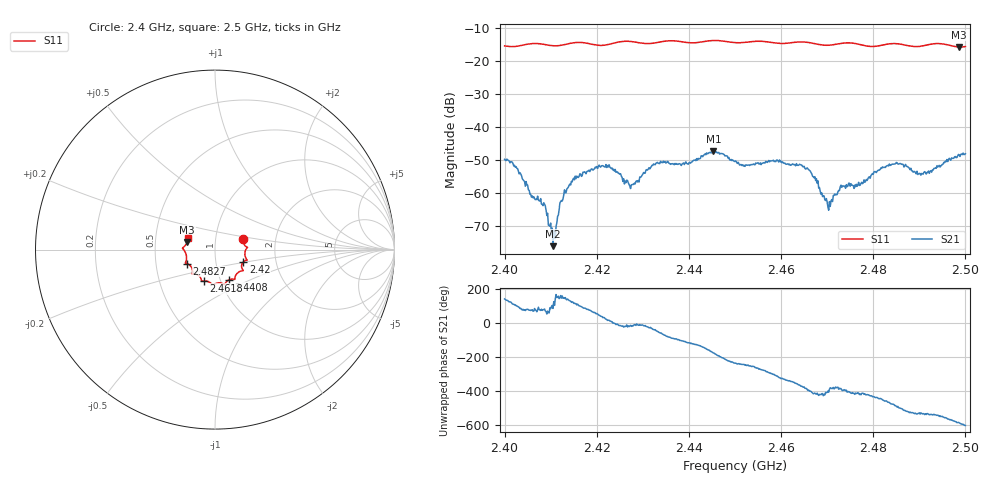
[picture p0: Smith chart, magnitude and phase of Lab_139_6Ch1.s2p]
# Hz S RI R 50
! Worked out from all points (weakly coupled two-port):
!   601 points, 2.4 GHz to 2.5 GHz, reference 50 ohm
!   highest |S21| = -47.24 dB at 2.4453 GHz (marker M1); lowest = -76.0 dB at 2.4105 GHz (marker M2)
!   lowest |S11| = -15.9 dB at 2.4987 GHz (marker M3), VSWR 1.38, Z = 36.5 + j3.22 ohm
!   |S11| at or under -10 dB: start of sweep to end of sweep
!   S12 and S22 are empty: the file has one direction only
!   S11 on the Smith chart (normalised r, x): 2.4 GHz: 1.36, +0.17; 2.42 GHz: 1.36, -0.19; 2.4408 GHz: 1.10, -0.38; 2.4618 GHz: 0.84, -0.30; 2.4827 GHz: 0.72, -0.12; 2.5 GHz: 0.73, +0.09
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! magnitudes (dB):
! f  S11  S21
! 2.4 GHz  -15.5  -49.8
! 2.4083 GHz  -15.0  -63.8
! 2.4105 GHz  -15.5  -76.0
! 2.4125 GHz  -15.3  -62.4
! 2.4167 GHz  -14.5  -54.9
! 2.42 GHz  -15.3  -52.0
! 2.4228 GHz  -15.0  -52.1
! 2.4275 GHz  -14.2  -57.5
! 2.4333 GHz  -14.5  -51.0
! 2.4408 GHz  -14.6  -50.3
! 2.4453 GHz  -13.9  -47.2
! 2.45 GHz  -14.6  -50.4
! 2.4618 GHz  -14.6  -51.2
! 2.4667 GHz  -14.7  -54.2
! 2.4707 GHz  -15.3  -64.0
! 2.4733 GHz  -14.7  -57.8
! 2.4767 GHz  -15.0  -57.6
! 2.4827 GHz  -15.1  -52.2
! 2.4833 GHz  -15.0  -51.8
! 2.4903 GHz  -15.6  -54.6
! 2.4987 GHz  -15.9  -48.4
! 2.5 GHz  -15.7  -48.1
